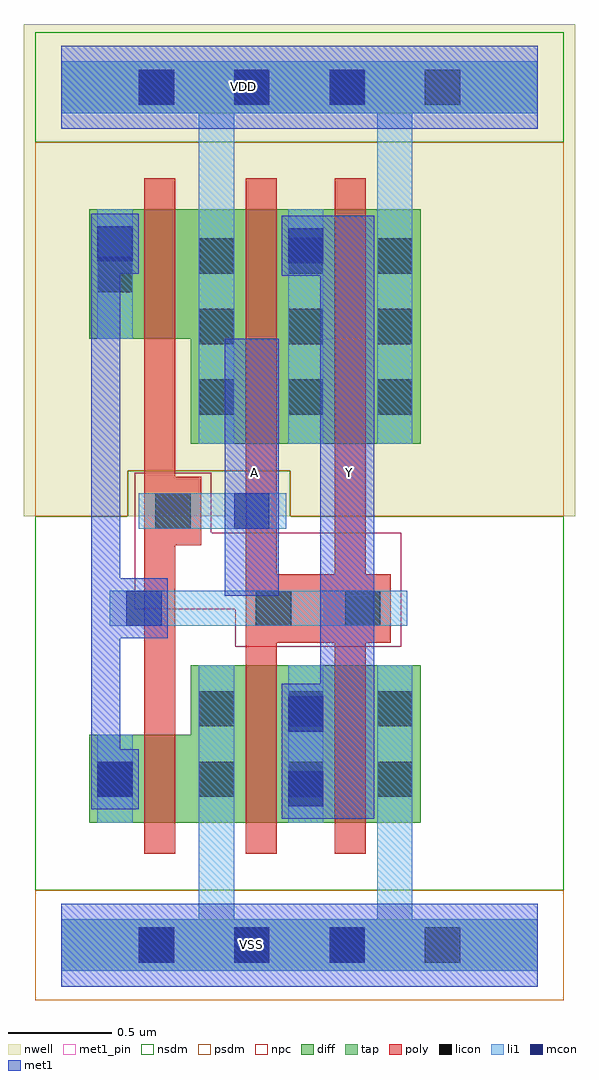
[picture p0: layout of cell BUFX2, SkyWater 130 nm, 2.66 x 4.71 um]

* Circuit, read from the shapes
.subckt BUFX2 A VDD VSS Y
XM1 VSS A n1 VSS sky130_fd_pr__nfet_01v8 w=0.425 l=0.15
XM2 Y n1 VSS VSS sky130_fd_pr__nfet_01v8 w=0.76 l=0.15 m=2
XM3 VDD A n1 VDD sky130_fd_pr__pfet_01v8 w=0.625 l=0.15
XM4 Y n1 VDD VDD sky130_fd_pr__pfet_01v8 w=1.13 l=0.15 m=2
.ends

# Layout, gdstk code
from math import pi, radians
import gdstk
lib = gdstk.Library(unit=1e-6, precision=1e-09)
def R(c, l, rs):  # rectangles x0, y0, x1, y1
    for r in rs: c.add(gdstk.rectangle(r[:2], r[2:], *l))
def A(c, l, x, y, w, h, nx, ny, dx, dy):  # array of equal rectangles
    R(c, l, [(x+i*dx, y+j*dy, x+i*dx+w, y+j*dy+h) for i in range(nx) for j in range(ny)])
def P(c, l, *ps):  # polygons
    for p in ps: c.add(gdstk.Polygon(p, *l))
nwell = (64, 20)
diff = (65, 20)
tap = (65, 44)
poly = (66, 20)
licon = (66, 44)
li1 = (67, 20)
mcon = (67, 44)
met1_pin = (68, 16)
met1 = (68, 20)
nsdm = (93, 44)
psdm = (94, 20)
npc = (95, 20)

pyl1con_c_cdns_751554744 = lib.new_cell('PYL1CON_C_CDNS_751554744751')
R(pyl1con_c_cdns_751554744, poly, [(-0.135,-0.165,0.135,0.165)])
R(pyl1con_c_cdns_751554744, licon, [(-0.085,-0.085,0.085,0.085)])
R(pyl1con_c_cdns_751554744, npc, [(-0.185,-0.185,0.185,0.185)])

l1m1_c_cdns_751554744750 = lib.new_cell('L1M1_C_CDNS_751554744750$$7')
R(l1m1_c_cdns_751554744750, li1, [(-0.085,-0.345,0.085,0.345)])
R(l1m1_c_cdns_751554744750, mcon, [(-0.085,-0.265,0.085,-0.095), (-0.085,0.095,0.085,0.265)])
R(l1m1_c_cdns_751554744750, met1, [(-0.115,-0.325,0.115,0.325)])

c_l1m1_c_cdns_751554744750 = lib.new_cell('L1M1_C_CDNS_751554744750$$8')
R(c_l1m1_c_cdns_751554744750, li1, [(-0.085,-0.165,0.085,0.165)])
R(c_l1m1_c_cdns_751554744750, mcon, [(-0.085,-0.085,0.085,0.085)])
R(c_l1m1_c_cdns_751554744750, met1, [(-0.115,-0.145,0.115,0.145)])

c_l1m1_c_cdns_751554744750_ = lib.new_cell('L1M1_C_CDNS_751554744750$$9')
R(c_l1m1_c_cdns_751554744750_, li1, [(-0.165,-0.085,0.165,0.085)])
R(c_l1m1_c_cdns_751554744750_, mcon, [(-0.085,-0.085,0.085,0.085)])
R(c_l1m1_c_cdns_751554744750_, met1, [(-0.115,-0.145,0.115,0.145)])

c_l1m1_c_cdns_751554744750__ = lib.new_cell('L1M1_C_CDNS_751554744750$$10')
R(c_l1m1_c_cdns_751554744750__, li1, [(-0.115,-0.165,0.055,0.165)])
R(c_l1m1_c_cdns_751554744750__, mcon, [(-0.115,-0.085,0.055,0.085)])
R(c_l1m1_c_cdns_751554744750__, met1, [(-0.145,-0.145,0.085,0.145)])

bufx2 = lib.new_cell('BUFX2')
R(bufx2, nwell, [(-0.18,2.07,2.48,4.445)])
P(bufx2, diff, [(1.735,1.35),(0.625,1.35),(0.625,1.015),(0.135,1.015),(0.135,0.59),(1.735,0.59)],
  [(1.735,3.55),(0.135,3.55),(0.135,2.925),(0.625,2.925),(0.625,2.42),(1.735,2.42)])
R(bufx2, poly, [(0.4,0.44,0.55,3.7)])
P(bufx2, poly, [(1.59,1.79),(1.47,1.79),(1.47,3.7),(1.32,3.7),(1.32,1.79),(1.04,1.79),(1.04,3.7),(0.89,3.7),(0.89,0.44),(1.04,0.44),(1.04,1.46),(1.32,1.46),(1.32,0.44),(1.47,0.44),(1.47,1.46),(1.59,1.46)])
A(bufx2, licon, 0.375, -0.085, 0.17, 0.17, 4, 2, 0.46, 4.14)
A(bufx2, licon, 0.665, 0.715, 0.17, 0.17, 3, 2, 0.43, 0.34)
A(bufx2, licon, 0.665, 2.56, 0.17, 0.17, 3, 3, 0.43, 0.34)
R(bufx2, licon, [(0.175,0.715,0.345,0.885), (0.175,3.15,0.345,3.32)])
R(bufx2, li1, [(0.175,0.59,0.345,1.015), (1.095,0.59,1.265,1.35), (1.095,2.42,1.265,3.55), (0.175,2.925,0.345,3.55)])
P(bufx2, li1, [(2.3,4.265),(0,4.265),(0,4.015),(0.665,4.015),(0.665,2.42),(0.835,2.42),(0.835,4.015),(1.525,4.015),(1.525,2.42),(1.695,2.42),(1.695,4.015),(2.3,4.015)],
  [(2.3,0.125),(1.695,0.125),(1.695,1.35),(1.525,1.35),(1.525,0.125),(0.835,0.125),(0.835,1.35),(0.665,1.35),(0.665,0.125),(0,0.125),(0,-0.125),(2.3,-0.125)])
A(bufx2, mcon, 0.375, -0.085, 0.17, 0.17, 3, 2, 0.46, 4.14)
R(bufx2, met1_pin, [(0.79,1.685,1.05,2.925), (1.25,1.685,1.51,2.925)])
R(bufx2, nsdm, [(-0.125,3.875,2.425,4.405)])
P(bufx2, nsdm, [(2.425,2.07),(1.105,2.07),(1.105,2.29),(0.32,2.29),(0.32,2.07),(-0.125,2.07),(-0.125,0.265),(2.425,0.265)])
R(bufx2, psdm, [(-0.125,-0.265,2.425,0.265)])
P(bufx2, psdm, [(2.425,3.875),(-0.125,3.875),(-0.125,2.07),(0.32,2.07),(0.32,2.29),(1.105,2.29),(1.105,2.07),(2.425,2.07)])
P(bufx2, npc, [(1.64,1.99),(0.355,1.99),(0.355,1.62),(0.84,1.62),(0.84,1.44),(1.64,1.44)])
bufx2.add(gdstk.FlexPath([(0.305,1.625),(1.67,1.625)], 0.17, ends="flush", simple_path=True, layer=67, datatype=20))  # li1
bufx2.add(gdstk.FlexPath([(0.92,2.095),(0.375,2.095)], 0.17, ends="flush", simple_path=True, layer=67, datatype=20))  # li1
bufx2.add(gdstk.FlexPath([(0,4.14),(2.3,4.14)], 0.4, ends="flush", simple_path=True, layer=68, datatype=20))  # met1
bufx2.add(gdstk.FlexPath([(0,0),(2.3,0)], 0.4, ends="flush", simple_path=True, layer=68, datatype=20))  # met1
bufx2.add(gdstk.FlexPath([(1.38,0.61),(1.38,3.52)], 0.26, ends="flush", simple_path=True, layer=68, datatype=20))  # met1
bufx2.add(gdstk.FlexPath([(0.92,1.685),(0.92,2.925)], 0.26, ends="flush", simple_path=True, layer=68, datatype=20))  # met1
bufx2.add(gdstk.FlexPath([(0.215,3.46),(0.215,0.8)], 0.14, ends="extended", simple_path=True, layer=68, datatype=20))  # met1
bufx2.add(gdstk.FlexPath([(0,0),(2.3,0)], 0.25, ends="flush", simple_path=True, layer=65, datatype=44))  # tap
bufx2.add(gdstk.FlexPath([(0,4.14),(2.3,4.14)], 0.25, ends="flush", simple_path=True, layer=65, datatype=44))  # tap
bufx2.add(gdstk.FlexPath([(0,0),(2.3,0)], 0.4, ends="flush", simple_path=True, layer=68, datatype=16))  # met1_pin
bufx2.add(gdstk.FlexPath([(0,4.14),(2.3,4.14)], 0.4, ends="flush", simple_path=True, layer=68, datatype=16))  # met1_pin
bufx2.add(gdstk.Reference(pyl1con_c_cdns_751554744, (1.455,1.625), rotation=pi))
bufx2.add(gdstk.Reference(pyl1con_c_cdns_751554744, (0.54,2.095), x_reflection=True))
bufx2.add(gdstk.Reference(pyl1con_c_cdns_751554744, (1.025,1.625), rotation=pi))
bufx2.add(gdstk.Reference(l1m1_c_cdns_751554744750, (1.18,0.935)))
bufx2.add(gdstk.Reference(c_l1m1_c_cdns_751554744750, (1.18,3.375)))
bufx2.add(gdstk.Reference(c_l1m1_c_cdns_751554744750, (0.26,3.385), rotation=pi, x_reflection=True))
bufx2.add(gdstk.Reference(c_l1m1_c_cdns_751554744750_, (0.92,2.095), x_reflection=True))
bufx2.add(gdstk.Reference(c_l1m1_c_cdns_751554744750_, (0.4,1.625)))
bufx2.add(gdstk.Reference(c_l1m1_c_cdns_751554744750__, (0.23,0.8), rotation=pi, x_reflection=True))
bufx2.add(gdstk.Label('VSS', (0.92,0.005), layer=68, texttype=5))
bufx2.add(gdstk.Label('VDD', (0.88,4.145), layer=68, texttype=5))
bufx2.add(gdstk.Label('A', (0.935,2.28), layer=68, texttype=5))
bufx2.add(gdstk.Label('Y', (1.39,2.28), layer=68, texttype=5))

lib.write_gds('BUFX2.gds')
